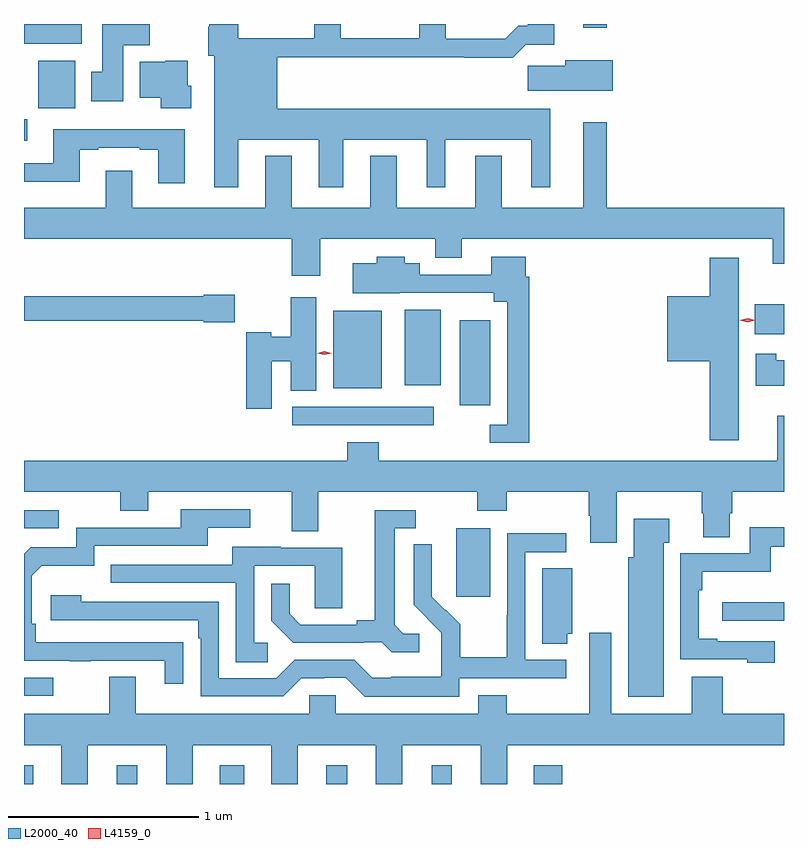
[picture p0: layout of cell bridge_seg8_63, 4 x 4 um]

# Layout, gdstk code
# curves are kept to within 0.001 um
import gdstk
lib = gdstk.Library(unit=1e-6, precision=1e-09)
def R(c, l, rs):  # rectangles x0, y0, x1, y1
    for r in rs: c.add(gdstk.rectangle(r[:2], r[2:], *l))
def P(c, l, *ps):  # polygons
    for p in ps: c.add(gdstk.Polygon(p, *l))
L2000_40 = (2000, 40)
L4159_0 = (4159, 0)

bridge_seg8_63 = lib.new_cell('bridge_seg8_63')
R(bridge_seg8_63, L2000_40, [(1106.125,1108.303,1106.173,1108.402), (1106.612,1108.303,1106.722,1108.402), (1107.155,1108.303,1107.283,1108.402), (1107.716,1108.303,1107.826,1108.402), (1108.271,1108.303,1108.375,1108.402), (1108.808,1108.303,1108.958,1108.402), (1106.125,1108.767,1106.278,1108.863), (1109.799,1109.163,1110.125,1109.26), (1108.4,1109.289,1108.579,1109.65), (1106.125,1109.649,1106.308,1109.745), (1107.537,1110.192,1108.282,1110.288), (1108.418,1110.297,1108.579,1110.745), (1107.752,1110.386,1108.009,1110.793), (1108.13,1110.401,1108.318,1110.799), (1109.972,1110.671,1110.125,1110.829), (1106.125,1111.689,1106.143,1111.801), (1106.199,1111.86,1106.395,1112.11), (1106.125,1112.198,1106.428,1112.303), (1109.069,1112.283,1109.191,1112.303)])
P(bridge_seg8_63, L2000_40, [(1107.253,1111.694),(1107.677,1111.694),(1107.677,1111.443),(1107.805,1111.443),(1107.805,1111.694),(1108.244,1111.694),(1108.244,1111.443),(1108.342,1111.443),(1108.342,1111.694),(1108.796,1111.694),(1108.796,1111.443),(1108.894,1111.443),(1108.894,1111.858),(1107.457,1111.858),(1107.457,1112.128),(1108.441,1112.128),(1108.441,1112.126),(1108.697,1112.126),(1108.766,1112.195),(1108.915,1112.195),(1108.915,1112.303),(1108.775,1112.303),(1108.775,1112.293),(1108.726,1112.293),(1108.659,1112.226),(1108.345,1112.226),(1108.345,1112.303),(1108.205,1112.303),(1108.205,1112.229),(1107.793,1112.229),(1107.793,1112.303),(1107.653,1112.303),(1107.653,1112.229),(1107.253,1112.229),(1107.253,1112.303),(1107.101,1112.303),(1107.101,1112.288),(1107.094,1112.288),(1107.094,1112.136),(1107.125,1112.136),(1107.125,1111.443),(1107.253,1111.443)],
  [(1106.647,1112.192),(1106.786,1112.192),(1106.786,1112.303),(1106.537,1112.303),(1106.537,1112.052),(1106.48,1112.052),(1106.48,1111.896),(1106.647,1111.896)],
  [(1109.224,1112.113),(1108.974,1112.113),(1108.974,1112.084),(1108.776,1112.084),(1108.776,1111.952),(1109.224,1111.952)],
  [(1107.004,1111.977),(1106.986,1111.977),(1106.986,1112.11),(1106.868,1112.11),(1106.868,1112.104),(1106.735,1112.104),(1106.735,1111.916),(1106.846,1111.916),(1106.846,1111.859),(1107.004,1111.859)],
  [(1107.685,1111.172),(1108.289,1111.172),(1108.289,1111.073),(1108.429,1111.073),(1108.429,1111.172),(1110.065,1111.172),(1110.065,1111.041),(1110.125,1111.041),(1110.125,1111.336),(1109.191,1111.336),(1109.191,1111.786),(1109.069,1111.786),(1109.069,1111.336),(1108.639,1111.336),(1108.639,1111.609),(1108.499,1111.609),(1108.499,1111.336),(1108.087,1111.336),(1108.087,1111.609),(1107.947,1111.609),(1107.947,1111.336),(1107.535,1111.336),(1107.535,1111.609),(1107.395,1111.609),(1107.395,1111.336),(1106.695,1111.336),(1106.695,1111.531),(1106.555,1111.531),(1106.555,1111.336),(1106.125,1111.336),(1106.125,1111.172),(1107.533,1111.172),(1107.533,1110.978),(1107.685,1110.978)],
  [(1106.971,1111.75),(1106.279,1111.75),(1106.279,1111.569),(1106.125,1111.569),(1106.125,1111.472),(1106.419,1111.472),(1106.419,1111.641),(1106.515,1111.641),(1106.515,1111.653),(1106.735,1111.653),(1106.735,1111.641),(1106.831,1111.641),(1106.831,1111.464),(1106.971,1111.464)],
  [(1108.784,1110.974),(1108.765,1110.974),(1108.765,1111.078),(1108.583,1111.078),(1108.583,1110.984),(1108.207,1110.984),(1108.207,1111.045),(1108.129,1111.045),(1108.129,1111.078),(1107.982,1111.078),(1107.982,1111.045),(1107.855,1111.045),(1107.855,1110.887),(1108.103,1110.887),(1108.103,1110.888),(1108.598,1110.888),(1108.598,1110.842),(1108.668,1110.842),(1108.668,1110.195),(1108.575,1110.195),(1108.575,1110.099),(1108.784,1110.099)],
  [(1109.887,1111.072),(1109.735,1111.072),(1109.735,1110.871),(1109.51,1110.871),(1109.51,1110.527),(1109.735,1110.527),(1109.735,1110.111),(1109.887,1110.111)],
  [(1107.235,1110.879),(1107.072,1110.879),(1107.072,1110.871),(1106.125,1110.871),(1106.125,1110.742),(1107.072,1110.742),(1107.072,1110.734),(1107.235,1110.734)],
  [(1107.43,1110.527),(1107.53,1110.527),(1107.53,1110.373),(1107.664,1110.373),(1107.664,1110.865),(1107.53,1110.865),(1107.53,1110.657),(1107.426,1110.657),(1107.426,1110.68),(1107.296,1110.68),(1107.296,1110.279),(1107.43,1110.279)],
  [(1110.125,1110.532),(1110.085,1110.532),(1110.085,1110.568),(1109.976,1110.568),(1109.976,1110.398),(1110.125,1110.398)],
  [(1109.245,1109.84),(1109.692,1109.84),(1109.692,1109.727),(1109.699,1109.727),(1109.699,1109.602),(1109.839,1109.602),(1109.839,1109.727),(1109.852,1109.727),(1109.852,1109.84),(1110.125,1109.84),(1110.125,1110.241),(1110.089,1110.241),(1110.089,1110.004),(1107.992,1110.004),(1107.992,1110.103),(1107.827,1110.103),(1107.827,1110.004),(1106.125,1110.004),(1106.125,1109.84),(1106.632,1109.84),(1106.632,1109.741),(1106.779,1109.741),(1106.779,1109.84),(1107.533,1109.84),(1107.533,1109.632),(1107.673,1109.632),(1107.673,1109.84),(1108.51,1109.84),(1108.51,1109.741),(1108.665,1109.741),(1108.665,1109.84),(1109.098,1109.84),(1109.098,1109.716),(1109.105,1109.716),(1109.105,1109.574),(1109.245,1109.574)],
  [(1106.963,1109.048),(1106.186,1109.049),(1106.186,1109.146),(1106.166,1109.146),(1106.166,1109.4),(1106.219,1109.453),(1106.496,1109.453),(1106.496,1109.556),(1107.091,1109.556),(1107.091,1109.652),(1107.316,1109.652),(1107.316,1109.748),(1106.951,1109.748),(1106.951,1109.652),(1106.4,1109.652),(1106.4,1109.55),(1106.16,1109.55),(1106.125,1109.515),(1106.125,1108.953),(1106.365,1108.953),(1106.365,1108.948),(1106.477,1108.948),(1106.477,1108.953),(1106.867,1108.953),(1106.867,1108.83),(1106.963,1108.83)],
  [(1108.204,1109.094),(1108.122,1109.094),(1108.075,1109.141),(1108.075,1109.649),(1108.186,1109.649),(1108.186,1109.745),(1107.971,1109.745),(1107.971,1109.165),(1107.875,1109.165),(1107.875,1109.142),(1107.58,1109.142),(1107.523,1109.199),(1107.523,1109.356),(1107.426,1109.356),(1107.426,1109.162),(1107.542,1109.046),(1107.914,1109.046),(1107.914,1109.049),(1108.008,1109.049),(1108.06,1108.997),(1108.204,1108.997)],
  [(1109.491,1109.573),(1109.521,1109.573),(1109.521,1109.698),(1109.333,1109.698),(1109.333,1109.496),(1109.306,1109.496),(1109.306,1108.763),(1109.491,1108.763)],
  [(1110.076,1109.055),(1109.773,1109.055),(1109.773,1109.068),(1109.676,1109.068),(1109.676,1109.324),(1109.696,1109.324),(1109.696,1109.42),(1110.055,1109.42),(1110.055,1109.551),(1110.125,1109.551),(1110.125,1109.654),(1109.946,1109.654),(1109.946,1109.517),(1109.58,1109.517),(1109.58,1108.959),(1109.931,1108.959),(1109.931,1108.94),(1110.076,1108.94)],
  [(1108.416,1108.86),(1108.978,1108.86),(1108.978,1108.956),(1108.764,1108.956),(1108.764,1109.523),(1108.978,1109.523),(1108.978,1109.622),(1108.668,1109.622),(1108.668,1109.192),(1108.666,1109.192),(1108.666,1108.969),(1108.421,1108.969),(1108.421,1109.143),(1108.344,1109.22),(1108.341,1109.217),(1108.271,1109.288),(1108.272,1109.564),(1108.176,1109.564),(1108.176,1109.246),(1108.322,1109.098),(1108.322,1109.001),(1108.32,1109.001),(1108.32,1108.867),(1108.057,1108.867),(1108.057,1108.863),(1107.957,1108.863),(1107.864,1108.956),(1107.549,1108.956),(1107.453,1108.86),(1107.15,1108.86),(1107.15,1109.262),(1106.426,1109.262),(1106.426,1109.296),(1106.265,1109.296),(1106.265,1109.166),(1107.041,1109.166),(1107.041,1109.069),(1107.054,1109.069),(1107.054,1108.764),(1107.489,1108.764),(1107.585,1108.86),(1107.704,1108.86),(1107.704,1108.863),(1107.819,1108.863),(1107.919,1108.763),(1108.416,1108.763)],
  [(1107.409,1109.046),(1107.336,1109.046),(1107.336,1109.451),(1107.654,1109.451),(1107.654,1109.227),(1107.799,1109.227),(1107.799,1109.547),(1107.475,1109.547),(1107.475,1109.551),(1107.221,1109.551),(1107.221,1109.457),(1106.581,1109.457),(1106.581,1109.361),(1107.24,1109.361),(1107.24,1108.945),(1107.409,1108.945)],
  [(1108.984,1109.094),(1109.011,1109.094),(1109.011,1109.438),(1108.853,1109.438),(1108.853,1109.041),(1108.984,1109.041)],
  [(1106.461,1108.508),(1106.873,1108.508),(1106.873,1108.303),(1107.013,1108.303),(1107.013,1108.508),(1107.425,1108.508),(1107.425,1108.303),(1107.565,1108.303),(1107.565,1108.508),(1107.977,1108.508),(1107.977,1108.303),(1108.117,1108.303),(1108.117,1108.508),(1108.529,1108.508),(1108.529,1108.303),(1108.669,1108.303),(1108.669,1108.508),(1110.125,1108.508),(1110.125,1108.672),(1109.803,1108.672),(1109.803,1108.867),(1109.639,1108.867),(1109.639,1108.672),(1109.215,1108.672),(1109.215,1109.098),(1109.099,1109.098),(1109.099,1108.672),(1108.665,1108.672),(1108.665,1108.771),(1108.517,1108.771),(1108.517,1108.672),(1107.765,1108.672),(1107.765,1108.77),(1107.627,1108.77),(1107.627,1108.672),(1106.713,1108.672),(1106.713,1108.867),(1106.573,1108.867),(1106.573,1108.672),(1106.125,1108.672),(1106.125,1108.508),(1106.321,1108.508),(1106.321,1108.303),(1106.461,1108.303)])
P(bridge_seg8_63, L4159_0, [(1109.933,1110.734),(1109.892,1110.743),(1109.892,1110.743),(1109.892,1110.744),(1109.933,1110.754),(1109.974,1110.745),(1109.974,1110.745),(1109.974,1110.745)],
  [(1107.706,1110.561),(1107.668,1110.571),(1107.668,1110.571),(1107.668,1110.571),(1107.706,1110.581),(1107.745,1110.571),(1107.745,1110.571),(1107.745,1110.571)])

lib.write_gds('bridge_seg8_63.gds')
